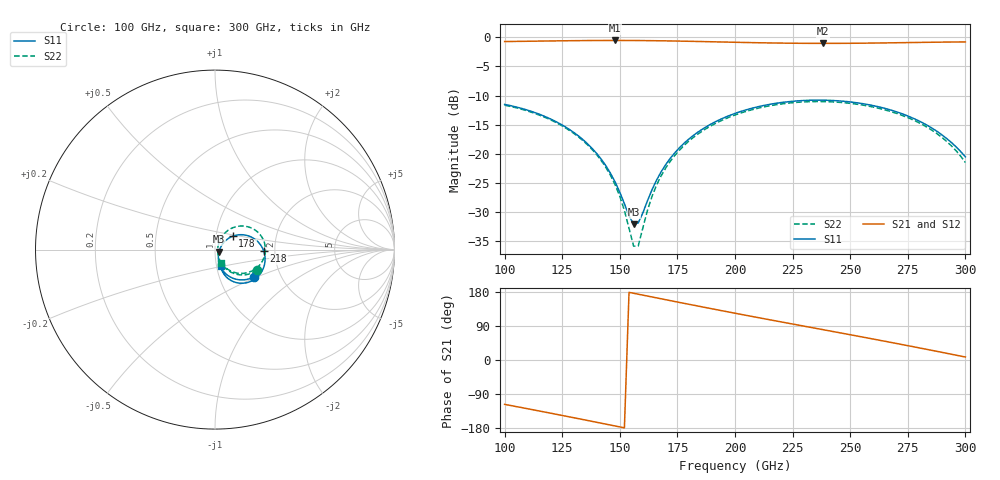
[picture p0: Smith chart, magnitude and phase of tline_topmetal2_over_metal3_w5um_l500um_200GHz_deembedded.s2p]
! Created with skrf 2.0.1 (http://scikit-rf.org).
# GHz S DB R 50.0
!freq dBS11 angS11 dBS21 angS21 dBS12 angS12 dBS22 angS22
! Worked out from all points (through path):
!   101 points, 100 GHz to 300 GHz, reference 50 ohm
!   highest |S21| = -0.56 dB at 148 GHz (marker M1); lowest = -1.1 dB at 238 GHz (marker M2)
!   group delay of S21, straight-line fit = 3.25 ps
!   lowest |S11| = -32.1 dB at 156 GHz (marker M3), VSWR 1.05, Z = 52.3 - j1.13 ohm
!   |S11| at or under -10 dB: start of sweep to end of sweep
!   |S22| runs from -35.8 to -11.0 dB; largest |S21 - S12| = 1.1e-14
!   S11 on the Smith chart (normalised r, x): 100 GHz: 1.47, -0.47; 178 GHz: 1.20, +0.18; 218 GHz: 1.75, -0.03; 300 GHz: 1.05, -0.19
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100  -11.52 -34.4  -0.75 -117.1  -0.75 -117.1  -11.66 -25.8
120  -14.03 -55.5  -0.65 -140.4  -0.65 -140.4  -14.18 -45.8
134  -17.55 -68.4  -0.59 -157.2  -0.59 -157.2  -17.72 -58.9
142  -20.93 -72.7  -0.57 -166.8  -0.57 -166.8  -21.17 -64.6
148  -24.84 -70.4  -0.56 -174.2  -0.56 -174.2  -25.31 -65.1
152  -28.54 -59.6  -0.57 -179.0  -0.57 -179.0  -29.70 -58.2
156  -32.06 -25.7  -0.57 176.1  -0.57 176.1  -35.80 -21.0
158  -31.81 -0.9  -0.58 173.6  -0.58 173.6  -35.76 18.8
164  -26.12 35.2  -0.60 166.3  -0.60 166.3  -27.25 60.2
168  -23.03 39.9  -0.62 161.5  -0.62 161.5  -23.71 62.7
172  -20.71 40.0  -0.65 156.6  -0.65 156.6  -21.21 61.6
178  -18.13 37.0  -0.69 149.4  -0.69 149.4  -18.51 57.7
188  -15.24 28.6  -0.77 137.5  -0.77 137.5  -15.54 48.8
200  -13.06 16.8  -0.88 123.5  -0.88 123.5  -13.33 37.0
218  -11.32 -1.8  -1.00 102.8  -1.00 102.8  -11.56 18.7
234  -10.80 -18.4  -1.06 84.8  -1.06 84.8  -11.04 2.3
238  -10.79 -22.5  -1.06 80.3  -1.06 80.3  -11.03 -1.8
252  -11.19 -36.8  -1.04 64.4  -1.04 64.4  -11.43 -16.2
268  -12.53 -52.5  -0.97 46.0  -0.97 46.0  -12.79 -33.0
286  -15.70 -67.7  -0.87 24.8  -0.87 24.8  -16.08 -51.7
294  -18.07 -71.5  -0.83 15.2  -0.83 15.2  -18.65 -59.6
300  -20.49 -71.0  -0.82 7.9  -0.82 7.9  -21.48 -64.7
